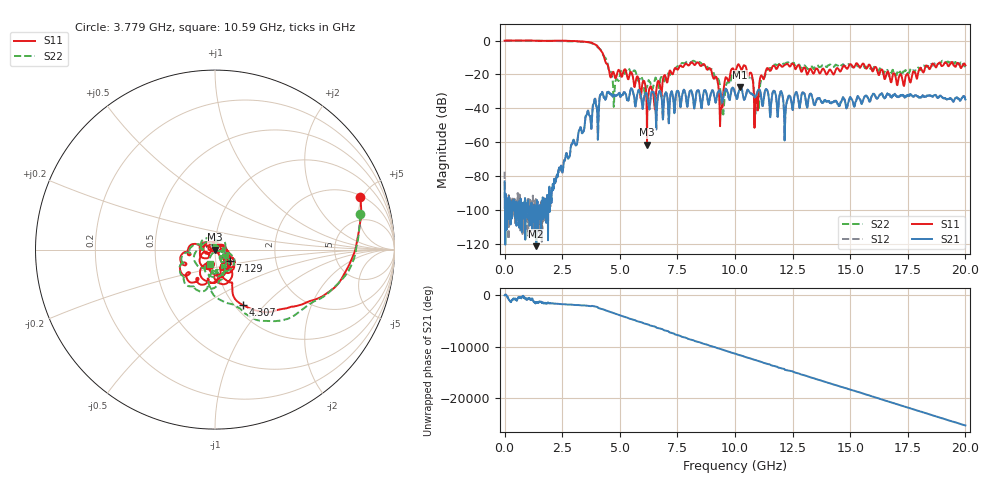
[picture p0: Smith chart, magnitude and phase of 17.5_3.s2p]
#  HZ  S  RI  R  50.00
! Rohde & Schwarz Vector Network Analyzer
! Rohde-Schwarz,ZNB20-2Port,1311601062102128,3.60
! Created: UTC 4/29/2024, 2:58:47 PM
! freq[Hz]  re:S11  im:S11  re:S21  im:S21  re:S12  im:S12  re:S22  im:S22
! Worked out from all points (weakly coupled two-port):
!   2007 points, 100 kHz to 20 GHz, reference 50 ohm
!   highest |S21| = -27.64 dB at 10.23 GHz (marker M1); lowest = -121.4 dB at 1.376 GHz (marker M2)
!   lowest |S11| = -61.5 dB at 6.182 GHz (marker M3), VSWR 1.00, Z = 50 - j0.0744 ohm
!   |S11| at or under -10 dB: 4.326 GHz to end of sweep
!   |S22| runs from -44.5 to 0.1 dB; largest |S21 - S12| = 0.0022
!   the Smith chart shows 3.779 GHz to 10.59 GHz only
!   S11 on the Smith chart (normalised r, x): 3.779 GHz: 2.08, +4.77; 4.307 GHz: 1.09, -0.77; 7.129 GHz: 1.17, -0.15; 10.59 GHz: 0.92, -0.16
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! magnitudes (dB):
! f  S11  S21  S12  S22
! 100 kHz  0.0  -83.1  -77.5  0.1
! 1.376 GHz  0.0  -121.4  -101.7  -0.1
! 2.223 GHz  -0.1  -83.0  -83.4  -0.3
! 3.34 GHz  -0.6  -53.9  -53.6  -0.6
! 3.779 GHz  -1.3  -49.9  -50.1  -1.6
! 4.307 GHz  -9.2  -33.8  -34.0  -9.2
! 4.776 GHz  -20.7  -32.4  -32.4  -28.9
! 5.354 GHz  -22.8  -35.3  -35.3  -16.4
! 6.182 GHz  -61.5  -31.9  -32.0  -27.4
! 6.67 GHz  -23.8  -31.9  -32.0  -27.2
! 7.129 GHz  -19.7  -48.8  -48.8  -20.6
! 8.654 GHz  -13.9  -29.6  -29.6  -14.3
! 9.192 GHz  -21.6  -34.6  -34.6  -22.5
! 9.402 GHz  -40.3  -33.3  -33.3  -36.4
! 10 GHz  -18.8  -31.1  -31.1  -19.3
! 10.23 GHz  -15.8  -27.6  -27.6  -16.8
! 10.59 GHz  -20.6  -29.6  -29.5  -21.6
! 10.92 GHz  -33.6  -32.5  -32.5  -34.5
! 11.42 GHz  -16.3  -29.9  -29.9  -16.8
! 13.34 GHz  -18.0  -32.8  -32.7  -15.3
! 16.67 GHz  -19.0  -31.7  -31.7  -20.5
! 20 GHz  -14.6  -34.8  -34.8  -14.4
